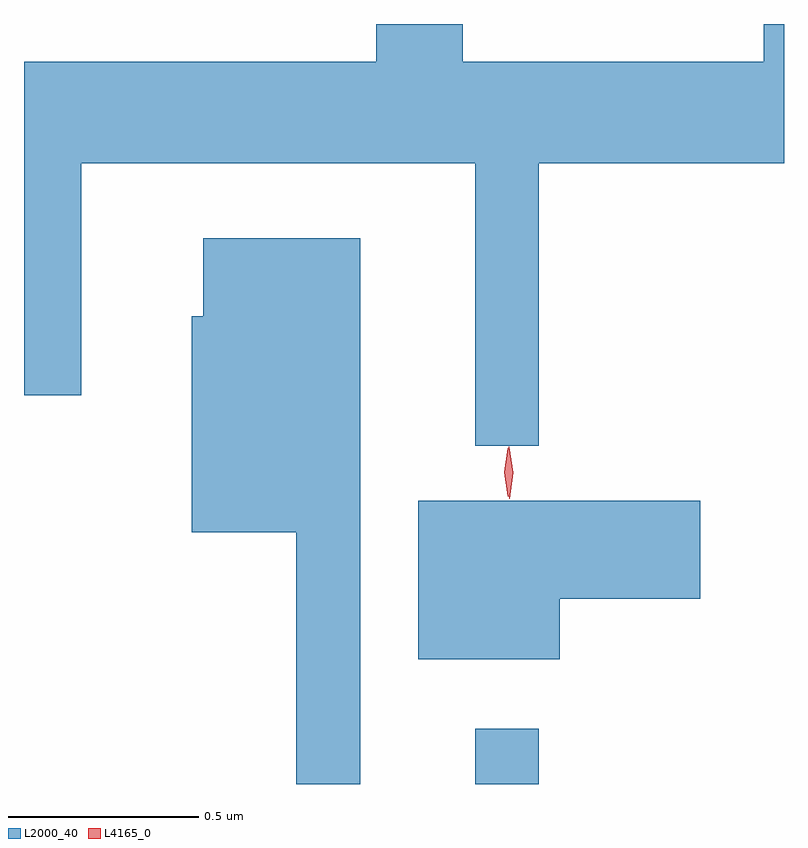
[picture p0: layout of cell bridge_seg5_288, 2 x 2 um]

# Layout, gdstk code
import gdstk
lib = gdstk.Library(unit=1e-6, precision=1e-09)
def R(c, l, rs):  # rectangles x0, y0, x1, y1
    for r in rs: c.add(gdstk.rectangle(r[:2], r[2:], *l))
def P(c, l, *ps):  # polygons
    for p in ps: c.add(gdstk.Polygon(p, *l))
L2000_40 = (2000, 40)
L4165_0 = (4165, 0)

bridge_seg5_288 = lib.new_cell('bridge_seg5_288')
R(bridge_seg5_288, L2000_40, [(975.621,1486.243,975.789,1486.388)])
P(bridge_seg5_288, L2000_40, [(975.789,1487.876),(976.434,1487.876),(976.434,1488.243),(976.381,1488.243),(976.381,1488.144),(975.589,1488.144),(975.589,1488.243),(975.361,1488.243),(975.361,1488.144),(974.434,1488.144),(974.434,1487.266),(974.584,1487.266),(974.584,1487.876),(975.621,1487.876),(975.621,1487.133),(975.789,1487.133)],
  [(975.319,1487.679),(974.906,1487.679),(974.906,1487.474),(974.876,1487.474),(974.876,1486.906),(975.151,1486.906),(975.151,1486.243),(975.319,1486.243)],
  [(975.844,1486.731),(976.214,1486.731),(976.214,1486.989),(975.471,1486.989),(975.471,1486.571),(975.844,1486.571)])
P(bridge_seg5_288, L4165_0, [(975.711,1486.994),(975.701,1487.062),(975.71,1487.13),(975.71,1487.13),(975.711,1487.13),(975.721,1487.062),(975.712,1486.994),(975.712,1486.994)],
  [(975.707,1487),(975.698,1487.063),(975.707,1487.126),(975.708,1487.127),(975.708,1487.126),(975.718,1487.063),(975.708,1487),(975.708,1487)])

lib.write_gds('bridge_seg5_288.gds')
